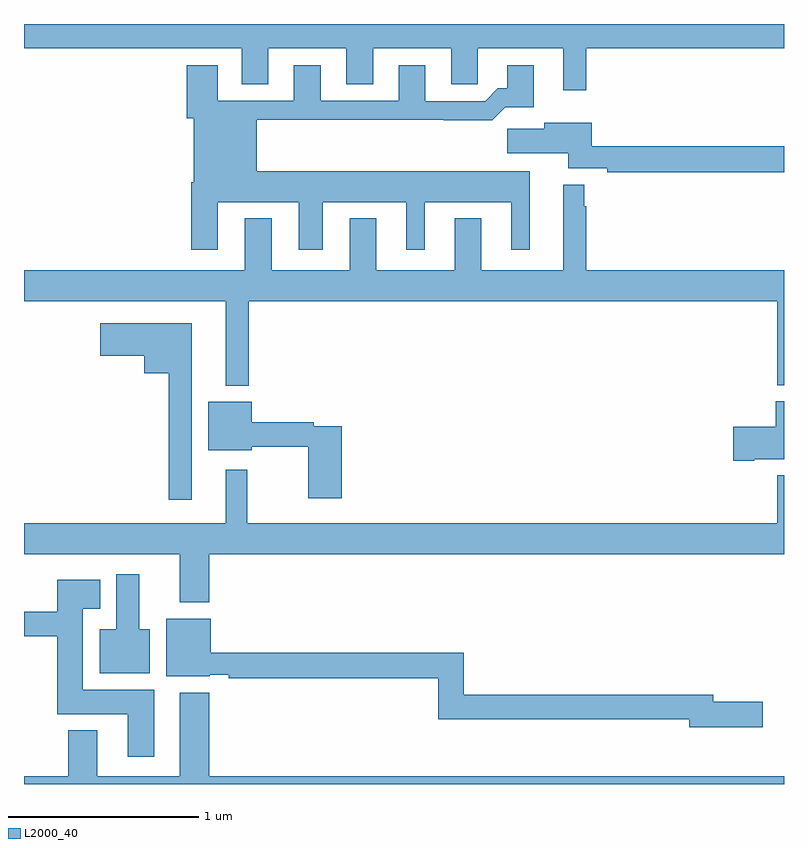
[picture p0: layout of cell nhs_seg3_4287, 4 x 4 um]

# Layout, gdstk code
import gdstk
lib = gdstk.Library(unit=1e-6, precision=1e-09)
def P(c, l, *ps):  # polygons
    for p in ps: c.add(gdstk.Polygon(p, *l))
L2000_40 = (2000, 40)

nhs_seg3_4287 = lib.new_cell('nhs_seg3_4287')
P(nhs_seg3_4287, L2000_40, [(341.959,678.272),(343,678.272),(343,678.4),(339,678.4),(339,678.272),(340.145,678.272),(340.145,678.082),(340.285,678.082),(340.285,678.272),(340.697,678.272),(340.697,678.082),(340.837,678.082),(340.837,678.272),(341.249,678.272),(341.249,678.082),(341.388,678.082),(341.388,678.272),(341.837,678.272),(341.837,678.051),(341.959,678.051)],
  [(340.021,677.462),(340.445,677.462),(340.445,677.211),(340.573,677.211),(340.573,677.462),(341.012,677.462),(341.012,677.211),(341.11,677.211),(341.11,677.462),(341.564,677.462),(341.564,677.211),(341.662,677.211),(341.662,677.626),(340.225,677.626),(340.225,677.896),(341.209,677.896),(341.209,677.894),(341.465,677.894),(341.534,677.963),(341.683,677.963),(341.683,678.184),(341.543,678.184),(341.543,678.061),(341.494,678.061),(341.427,677.994),(341.113,677.994),(341.113,678.184),(340.973,678.184),(340.973,677.997),(340.561,677.997),(340.561,678.184),(340.421,678.184),(340.421,677.997),(340.021,677.997),(340.021,678.184),(339.857,678.184),(339.857,677.904),(339.893,677.904),(339.893,677.566),(339.881,677.566),(339.881,677.211),(340.021,677.211)],
  [(343,677.756),(341.987,677.756),(341.987,677.881),(341.738,677.881),(341.738,677.849),(341.544,677.849),(341.544,677.72),(341.864,677.72),(341.864,677.64),(342.07,677.64),(342.07,677.62),(343,677.62)],
  [(340.183,676.94),(342.965,676.94),(342.965,676.499),(343,676.499),(343,677.104),(341.959,677.104),(341.959,677.441),(341.948,677.441),(341.948,677.554),(341.837,677.554),(341.837,677.104),(341.407,677.104),(341.407,677.377),(341.267,677.377),(341.267,677.104),(340.855,677.104),(340.855,677.377),(340.715,677.377),(340.715,677.104),(340.303,677.104),(340.303,677.377),(340.163,677.377),(340.163,677.104),(339,677.104),(339,676.94),(340.061,676.94),(340.061,676.496),(340.183,676.496)],
  [(339.883,676.825),(339.402,676.825),(339.402,676.655),(339.632,676.655),(339.632,676.562),(339.762,676.562),(339.762,675.897),(339.883,675.897)],
  [(342.844,676.109),(343,676.109),(343,676.414),(342.956,676.414),(342.956,676.28),(342.732,676.28),(342.732,676.102),(342.844,676.102)],
  [(340.673,676.284),(340.526,676.284),(340.526,676.304),(340.198,676.304),(340.198,676.411),(339.971,676.411),(339.971,676.157),(340.198,676.157),(340.198,676.176),(340.495,676.176),(340.495,675.903),(340.673,675.903)],
  [(339.974,675.608),(343,675.608),(343,676.024),(342.965,676.024),(342.965,675.772),(340.175,675.772),(340.175,676.054),(340.061,676.054),(340.061,675.772),(339,675.772),(339,675.608),(339.821,675.608),(339.821,675.356),(339.974,675.356)],
  [(339.661,675.214),(339.607,675.214),(339.607,675.505),(339.485,675.505),(339.485,675.214),(339.398,675.214),(339.398,674.984),(339.661,674.984)],
  [(339.685,674.896),(339.31,674.896),(339.31,675.323),(339.4,675.323),(339.4,675.475),(339.176,675.475),(339.176,675.307),(339,675.307),(339,675.178),(339.176,675.178),(339.176,674.768),(339.545,674.768),(339.545,674.544),(339.685,674.544)],
  [(342.889,674.834),(342.628,674.834),(342.628,674.87),(341.315,674.87),(341.315,675.092),(339.982,675.092),(339.982,675.271),(339.749,675.271),(339.749,674.966),(339.978,674.966),(339.978,674.976),(340.078,674.976),(340.078,674.956),(341.179,674.956),(341.179,674.742),(342.5,674.742),(342.5,674.699),(342.889,674.699)],
  [(343,674.44),(339.974,674.44),(339.974,674.881),(339.821,674.881),(339.821,674.44),(339.385,674.44),(339.385,674.683),(339.233,674.683),(339.233,674.44),(339,674.44),(339,674.4),(343,674.4)])

lib.write_gds('nhs_seg3_4287.gds')
